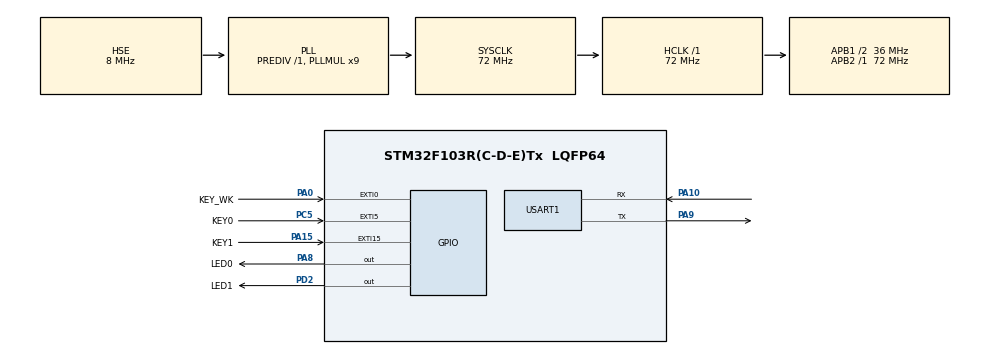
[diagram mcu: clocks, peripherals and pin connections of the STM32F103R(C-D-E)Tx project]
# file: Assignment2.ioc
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IWDG.Prescaler=IWDG_PRESCALER_256
IWDG.Reload=3437
Mcu.Family=STM32F1
Mcu.Name=STM32F103R(C-D-E)Tx
Mcu.Package=LQFP64
NVIC.EXTI0_IRQn=true\:2\:0\:true\:false\:true\:true\:true\:true
NVIC.EXTI15_10_IRQn=true\:2\:2\:true\:false\:true\:true\:true\:true
NVIC.EXTI9_5_IRQn=true\:2\:1\:true\:false\:true\:true\:true\:true
NVIC.PriorityGroup=NVIC_PRIORITYGROUP_2
NVIC.TIM3_IRQn=true\:0\:0\:true\:false\:true\:true\:true\:true
NVIC.USART1_IRQn=true\:1\:0\:true\:false\:true\:true\:true\:true
PA0-WKUP.GPIO_Label=KEY_WK
PA0-WKUP.GPIO_PuPd=GPIO_PULLDOWN
PA0-WKUP.Signal=GPXTI0
PA10.Mode=Asynchronous
PA10.Signal=USART1_RX
PA13.Mode=Serial_Wire
PA13.Signal=SYS_JTMS-SWDIO
PA14.Mode=Serial_Wire
PA14.Signal=SYS_JTCK-SWCLK
PA15.GPIO_Label=KEY1
PA15.GPIO_ModeDefaultEXTI=GPIO_MODE_IT_FALLING
PA15.GPIO_PuPd=GPIO_PULLUP
PA15.Signal=GPXTI15
PA8.GPIO_Label=LED0
PA8.PinState=GPIO_PIN_SET
PA8.Signal=GPIO_Output
PA9.Mode=Asynchronous
PA9.Signal=USART1_TX
PC5.GPIO_Label=KEY0
PC5.GPIO_ModeDefaultEXTI=GPIO_MODE_IT_FALLING
PC5.GPIO_PuPd=GPIO_PULLUP
PC5.Signal=GPXTI5
PD0-OSC_IN.Mode=HSE-External-Oscillator
PD0-OSC_IN.Signal=RCC_OSC_IN
PD1-OSC_OUT.Mode=HSE-External-Oscillator
PD1-OSC_OUT.Signal=RCC_OSC_OUT
PD2.GPIO_Label=LED1
PD2.PinState=GPIO_PIN_SET
PD2.Signal=GPIO_Output
ProjectManager.HeapSize=0x200
ProjectManager.StackSize=0x400
ProjectManager.TargetToolchain=STM32CubeIDE
RCC.AHBFreq_Value=72000000
RCC.APB1CLKDivider=RCC_HCLK_DIV2
RCC.APB1Freq_Value=36000000
RCC.APB1TimFreq_Value=72000000
RCC.APB2Freq_Value=72000000
RCC.APB2TimFreq_Value=72000000
RCC.HCLKFreq_Value=72000000
RCC.PLLMUL=RCC_PLL_MUL9
RCC.PLLSourceVirtual=RCC_PLLSOURCE_HSE
RCC.SYSCLKFreq_VALUE=72000000
RCC.SYSCLKSource=RCC_SYSCLKSOURCE_PLLCLK
RCC.USBFreq_Value=72000000
TIM3.Period=9999
TIM3.Prescaler=719
USART1.VirtualMode=VM_ASYNC
VP_IWDG_VS_IWDG.Mode=IWDG_Activate
VP_TIM3_VS_ClockSourceINT.Mode=Internal
board=custom

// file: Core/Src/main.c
/* USER CODE BEGIN Header */
/**
  ******************************************************************************
  * @file           : main.c
  * @brief          : Main program body
  ******************************************************************************
  * @attention
  *
  * Copyright (c) 2022 STMicroelectronics.
  * All rights reserved.
  *
  * This software is licensed under terms that can be found in the LICENSE file
  * in the root directory of this software component.
  * If no LICENSE file comes with this software, it is provided AS-IS.
  *
  ******************************************************************************
  */
/* USER CODE END Header */
#include "main.h"

/* USER CODE BEGIN Includes */
# include <stdio.h>
# include <stdlib.h>
# include <time.h>
#include <string.h>
/* USER CODE END Includes */

IWDG_HandleTypeDef hiwdg;

TIM_HandleTypeDef htim3;

UART_HandleTypeDef huart1;

/* USER CODE BEGIN PV */
IWDG_HandleTypeDef hiwdg2;
extern unsigned char uRx_Data[1024];
extern unsigned char uLength;
extern uint8_t rxBuffer[20];
extern unsigned char flag;
extern unsigned char Length;
extern int wrongORright;
/* USER CODE END PV */

void SystemClock_Config(void);
static void MX_GPIO_Init(void);
static void MX_IWDG_Init(void);
static void MX_USART1_UART_Init(void);
static void MX_TIM3_Init(void);

/* USER CODE BEGIN 0 */
int initial=0;
volatile int i = 10000;
unsigned char msg[1024];
int f=0;
char string[1024];
int x,seed=520;
volatile int mode=0;  //mode=0
volatile int lim=10;
volatile int updatevalue=0;
/* USER CODE END 0 */

int main(void)
{

  /* MCU Configuration--------------------------------------------------------*/

  /* Reset of all peripherals, Initializes the Flash interface and the Systick. */
  HAL_Init();

  /* Configure the system clock */
  SystemClock_Config();

  /* Initialize all configured peripherals */
  MX_GPIO_Init();
  MX_TIM3_Init();

  /* Infinite loop */
  /* USER CODE BEGIN WHILE */

  int s=0,j;

  while (1)
   {

	  if (mode==0){
		   seed+=1314;
     // *string="abcd";
    /* USER CODE END WHILE */

    /* USER CODE BEGIN 3 */
	  if (i==lim){
		 if (s==0) sprintf(msg, "You have %d Seconds in total, Let us Start Typing Exercise \r\n [WORD] %s \r\n", i,string);
		 else sprintf(msg, "You have %d Seconds in total, Let us Continue Typing Exercise \r\n [WORD] %s \r\n", i,string);
	  }
   else if (i>=2&&i<=3) sprintf(msg, " [WARNING] %d seconds left! \r\n", i);
     else if (i==1)  sprintf(msg, " [WARNING] %d second left! \r\n", i);
     else if (i==0) {
    	 if (s>=lim) sprintf(msg, "Game over! The Score you get is %d, Excellent!\r\n", s);
    	 else if (s>=lim/2) sprintf(msg, "Game over! The Score you get is %d, Good!\r\n", s);
    	   else if (s>=1) sprintf(msg, "Game over! The Score you get is %d, Practice more!\r\n", s);
    	      else if (s==0)  sprintf(msg, "Game over! The Score you get is %d, Rubbish!\r\n", s);
     }

  if (i==lim||i>=0&&i<=3) HAL_UART_Transmit(&huart1, (uint8_t*)msg, strlen(msg), HAL_MAX_DELAY);

   if (i>1||i==0){
	   if (wrongORright==0) HAL_Delay(1000);
   else if (wrongORright==1) {
	   wrongORright=0;
		HAL_GPIO_WritePin(GPIOA, GPIO_PIN_8,GPIO_PIN_SET);
		  HAL_GPIO_TogglePin(GPIOA, GPIO_PIN_8);
		  HAL_Delay(500);
		  HAL_GPIO_TogglePin(GPIOA, GPIO_PIN_8);
		  HAL_Delay(500);

   }
   else if(wrongORright==2){
	   wrongORright=0;
	   HAL_GPIO_WritePin(GPIOD, GPIO_PIN_2,GPIO_PIN_SET);
	   HAL_GPIO_TogglePin(GPIOD, GPIO_PIN_2);
	   HAL_Delay(500);
	   HAL_GPIO_TogglePin(GPIOD, GPIO_PIN_2);
	   HAL_Delay(500);

	   s++;
	   srand(seed);
		  for (j=0;j<=(s+9)/3;j++){
			 // srand((unsigned)time(NULL));
			      x=rand()%(25-0+1);
				  string[j]='a'+x;
			  }
			  string[(s+9)/3+1]='\0';
	   HAL_IWDG_Refresh(&hiwdg);
	   i=lim+1;

   }
	   i--;
	    initial=i;
   }
   else if (i==1){
	   HAL_Delay(1000);
	   i--;
	   initial=i;
	   if (wrongORright==1) {
		    wrongORright=0;
	   		HAL_GPIO_WritePin(GPIOA, GPIO_PIN_8,GPIO_PIN_SET);

	   		  HAL_GPIO_TogglePin(GPIOA, GPIO_PIN_8);
	   		  HAL_Delay(500);
	   		  HAL_GPIO_TogglePin(GPIOA, GPIO_PIN_8);

	      }
	      else if(wrongORright==2){
	       wrongORright=0;
	   	   HAL_GPIO_WritePin(GPIOD, GPIO_PIN_2,GPIO_PIN_SET);
	   	   HAL_GPIO_TogglePin(GPIOD, GPIO_PIN_2);
	   	   HAL_Delay(500);
	   	   HAL_GPIO_TogglePin(GPIOD, GPIO_PIN_2);

	   	   s++;
	   	srand(seed);
	 	  for (j=0;j<=(s+9)/3;j++){
	 		// srand((unsigned)time(NULL));
	 		      x=rand()%(25-0+1);
	 			  string[j]='a'+x;
	 		  }
	 		  string[(s+9)/3+1]='\0';
	   	   HAL_IWDG_Refresh(&hiwdg);
	   	   i=lim+1;
	       i--;
	   	   initial=i;
	      }
   }

	  }
	  else{

	  }

 }
  /* USER CODE END 3 */
}

void SystemClock_Config(void)
{
  RCC_OscInitTypeDef RCC_OscInitStruct = {0};
  RCC_ClkInitTypeDef RCC_ClkInitStruct = {0};

  /** Initializes the RCC Oscillators according to the specified parameters
  * in the RCC_OscInitTypeDef structure.
  */
  RCC_OscInitStruct.OscillatorType = RCC_OSCILLATORTYPE_LSI|RCC_OSCILLATORTYPE_HSE;
  RCC_OscInitStruct.HSEState = RCC_HSE_ON;
  RCC_OscInitStruct.HSEPredivValue = RCC_HSE_PREDIV_DIV1;
  RCC_OscInitStruct.HSIState = RCC_HSI_ON;
  RCC_OscInitStruct.LSIState = RCC_LSI_ON;
  RCC_OscInitStruct.PLL.PLLState = RCC_PLL_ON;
  RCC_OscInitStruct.PLL.PLLSource = RCC_PLLSOURCE_HSE;
  RCC_OscInitStruct.PLL.PLLMUL = RCC_PLL_MUL9;
  if (HAL_RCC_OscConfig(&RCC_OscInitStruct) != HAL_OK)
  {
    Error_Handler();
  }

  /** Initializes the CPU, AHB and APB buses clocks
  */
  RCC_ClkInitStruct.ClockType = RCC_CLOCKTYPE_HCLK|RCC_CLOCKTYPE_SYSCLK
                              |RCC_CLOCKTYPE_PCLK1|RCC_CLOCKTYPE_PCLK2;
  RCC_ClkInitStruct.SYSCLKSource = RCC_SYSCLKSOURCE_PLLCLK;
  RCC_ClkInitStruct.AHBCLKDivider = RCC_SYSCLK_DIV1;
  RCC_ClkInitStruct.APB1CLKDivider = RCC_HCLK_DIV2;
  RCC_ClkInitStruct.APB2CLKDivider = RCC_HCLK_DIV1;

  if (HAL_RCC_ClockConfig(&RCC_ClkInitStruct, FLASH_LATENCY_2) != HAL_OK)
  {
    Error_Handler();
  }
}

static void MX_IWDG_Init(void)
{

  hiwdg.Instance = IWDG;
  hiwdg.Init.Prescaler = IWDG_PRESCALER_256;
  hiwdg.Init.Reload = 3437;
  if (HAL_IWDG_Init(&hiwdg) != HAL_OK)
  {
    Error_Handler();
  }

}

static void MX_TIM3_Init(void)
{

  TIM_ClockConfigTypeDef sClockSourceConfig = {0};
  TIM_MasterConfigTypeDef sMasterConfig = {0};

  htim3.Instance = TIM3;
  htim3.Init.Prescaler = 719;
  htim3.Init.CounterMode = TIM_COUNTERMODE_UP;
  htim3.Init.Period = 9999;
  htim3.Init.ClockDivision = TIM_CLOCKDIVISION_DIV1;
  htim3.Init.AutoReloadPreload = TIM_AUTORELOAD_PRELOAD_DISABLE;
  if (HAL_TIM_Base_Init(&htim3) != HAL_OK)
  {
    Error_Handler();
  }
  sClockSourceConfig.ClockSource = TIM_CLOCKSOURCE_INTERNAL;
  if (HAL_TIM_ConfigClockSource(&htim3, &sClockSourceConfig) != HAL_OK)
  {
    Error_Handler();
  }
  sMasterConfig.MasterOutputTrigger = TIM_TRGO_RESET;
  sMasterConfig.MasterSlaveMode = TIM_MASTERSLAVEMODE_DISABLE;
  if (HAL_TIMEx_MasterConfigSynchronization(&htim3, &sMasterConfig) != HAL_OK)
  {
    Error_Handler();
  }

}

static void MX_USART1_UART_Init(void)
{

  huart1.Instance = USART1;
  huart1.Init.BaudRate = 115200;
  huart1.Init.WordLength = UART_WORDLENGTH_8B;
  huart1.Init.StopBits = UART_STOPBITS_1;
  huart1.Init.Parity = UART_PARITY_NONE;
  huart1.Init.Mode = UART_MODE_TX_RX;
  huart1.Init.HwFlowCtl = UART_HWCONTROL_NONE;
  huart1.Init.OverSampling = UART_OVERSAMPLING_16;
  if (HAL_UART_Init(&huart1) != HAL_OK)
  {
    Error_Handler();
  }

}

static void MX_GPIO_Init(void)
{
  GPIO_InitTypeDef GPIO_InitStruct = {0};

  /* GPIO Ports Clock Enable */
  __HAL_RCC_GPIOD_CLK_ENABLE();
  __HAL_RCC_GPIOA_CLK_ENABLE();
  __HAL_RCC_GPIOC_CLK_ENABLE();

  /*Configure GPIO pin Output Level */
  HAL_GPIO_WritePin(LED0_GPIO_Port, LED0_Pin, GPIO_PIN_SET);

  /*Configure GPIO pin Output Level */
  HAL_GPIO_WritePin(LED1_GPIO_Port, LED1_Pin, GPIO_PIN_SET);

  /*Configure GPIO pin : KEY_WK_Pin */
  GPIO_InitStruct.Pin = KEY_WK_Pin;
  GPIO_InitStruct.Mode = GPIO_MODE_IT_RISING;
  GPIO_InitStruct.Pull = GPIO_PULLDOWN;
  HAL_GPIO_Init(KEY_WK_GPIO_Port, &GPIO_InitStruct);

  /*Configure GPIO pin : KEY0_Pin */
  GPIO_InitStruct.Pin = KEY0_Pin;
  GPIO_InitStruct.Mode = GPIO_MODE_IT_FALLING;
  GPIO_InitStruct.Pull = GPIO_PULLUP;
  HAL_GPIO_Init(KEY0_GPIO_Port, &GPIO_InitStruct);

  /*Configure GPIO pin : LED0_Pin */
  GPIO_InitStruct.Pin = LED0_Pin;
  GPIO_InitStruct.Mode = GPIO_MODE_OUTPUT_PP;
  GPIO_InitStruct.Pull = GPIO_NOPULL;
  GPIO_InitStruct.Speed = GPIO_SPEED_FREQ_LOW;
  HAL_GPIO_Init(LED0_GPIO_Port, &GPIO_InitStruct);

  /*Configure GPIO pin : KEY1_Pin */
  GPIO_InitStruct.Pin = KEY1_Pin;
  GPIO_InitStruct.Mode = GPIO_MODE_IT_FALLING;
  GPIO_InitStruct.Pull = GPIO_PULLUP;
  HAL_GPIO_Init(KEY1_GPIO_Port, &GPIO_InitStruct);

  /*Configure GPIO pin : LED1_Pin */
  GPIO_InitStruct.Pin = LED1_Pin;
  GPIO_InitStruct.Mode = GPIO_MODE_OUTPUT_PP;
  GPIO_InitStruct.Pull = GPIO_NOPULL;
  GPIO_InitStruct.Speed = GPIO_SPEED_FREQ_LOW;
  HAL_GPIO_Init(LED1_GPIO_Port, &GPIO_InitStruct);

  /* EXTI interrupt init*/
  HAL_NVIC_SetPriority(EXTI0_IRQn, 2, 0);
  HAL_NVIC_EnableIRQ(EXTI0_IRQn);

  HAL_NVIC_SetPriority(EXTI9_5_IRQn, 2, 1);
  HAL_NVIC_EnableIRQ(EXTI9_5_IRQn);

  HAL_NVIC_SetPriority(EXTI15_10_IRQn, 2, 2);
  HAL_NVIC_EnableIRQ(EXTI15_10_IRQn);

}

/* USER CODE BEGIN 4 */
void HAL_GPIO_EXTI_Callback(uint16_t GPIO_Pin)
{
switch (GPIO_Pin) {
case KEY0_Pin:
if (HAL_GPIO_ReadPin(KEY0_GPIO_Port, KEY0_Pin) == GPIO_PIN_RESET){
	//HAL_IWDG_Refresh(&hiwdg);
	initial=i;
	  	MX_USART1_UART_Init();
	  	sprintf(msg, "\r\nGame Start! Are you Ready? [Y/N] \r\n(You should give me your choice with 'Y' or 'N' in 10 seconds)\r\n");
	  	HAL_UART_Transmit(&huart1, (uint8_t*)msg, strlen(msg), HAL_MAX_DELAY);
	  	HAL_UART_Receive_IT(&huart1,(uint8_t *)rxBuffer,1);
	  	int j=10;
	  	f=0;
	  	while (j!=-1){
	  		 if (j!=0){
	  			 sprintf(msg, "%d--",j);
	  		 }
	  		 else {
	  			sprintf(msg, "%d \r\nTime Over, Quit Game!\r\n",j);
	  		 }
	  		 j--;
	  		 HAL_UART_Transmit(&huart1, (uint8_t*)msg, strlen(msg), HAL_MAX_DELAY);
	  		 HAL_Delay(1000);
	  		 if (Length ==1&&uRx_Data[0]=='Y') {
	  			 f=1;
	  			 sprintf(msg, "\r\nReady...Go!\r\n\r\n");
	  			 HAL_UART_Transmit(&huart1, (uint8_t*)msg, strlen(msg), HAL_MAX_DELAY);
	  			 break;
	  		 }
	  		 else if (Length ==1&&uRx_Data[0]=='N'){
	  			 sprintf(msg, "\r\nYou can play next time, Quit Game!\r\n");
	  			 HAL_UART_Transmit(&huart1, (uint8_t*)msg, strlen(msg), HAL_MAX_DELAY);
	  			 break;
	  		 }

	  	}
	  	if (f==1){
	  		HAL_Delay(1000);
	  		 srand(seed);
	  		for (int j=0;j<=(0+9)/3;j++){
	  		  				  //x=(a*x+c)%m;
	  			  //srand((unsigned)time(NULL));
	  			           x=rand()%(25-0+1);
	  		  				  string[j]='a'+x;
	  		  			  }
	  		  			  string[(0+9)/3+1]='\0';
	  	 //x=rand()%(25-0+1);
	  	 MX_IWDG_Init();
	  	 i=lim+1;
	  	}
	  	else {

	  		while(1){

	  		}
	  	}

}

break;

case KEY_WK_Pin:
	if (HAL_GPIO_ReadPin(KEY_WK_GPIO_Port, KEY_WK_Pin) == GPIO_PIN_SET){
         if (i>=0){
        	 if (mode==0){
			mode=1;
			int ll=0,j;
			char str[]=" [Pause] Please press KEY_WK to continue!\r\n";
			for( j=0;str[j];j++ ){
								ll++;
								uRx_Data[j]=str[j];
							}
							HAL_UART_Transmit(&huart1, uRx_Data, ll, 0xffff);
			HAL_TIM_Base_Start_IT(&htim3);
							HAL_Delay(1000);
		}else{

			mode=0;
			int ll=0,j;
			char str[]=" [continue] Welcome to come back again!\r\n";
			for( j=0;str[j];j++ ){
								ll++;
								uRx_Data[j]=str[j];
							}

							HAL_UART_Transmit(&huart1, uRx_Data, ll, 0xffff);
			HAL_TIM_Base_Stop_IT(&htim3);
							HAL_Delay(1000);
		}
         }

	}
	break;
case KEY1_Pin:
	if (HAL_GPIO_ReadPin(KEY1_GPIO_Port, KEY1_Pin) == GPIO_PIN_RESET){
		 if (i>=0){
			mode=1;
			int ll=0,j;
			char str[]=" [UPDATE] The current time limit is ";
			int k=lim,len=0;
			char add[]="new";
			char fin[]="friend";
			while(k!=0){
				add[len]=k%10+48;
				len++;
				k=k/10;
				//Time limit changed: ? seconds.\r\n";
			}
			for (j=0;j<len;j++){
				fin[j]=add[len-1-j];
			}
			for( j=0;str[j];j++ ){
								ll++;
								uRx_Data[j]=str[j];
							}
			for (j=0;j<len;j++){

			uRx_Data[ll]=fin[j];
			ll++;
			}
			if (lim>1){
				char str1[]=" seconds.\r\n";
			for( j=0;str1[j];j++ ){

											uRx_Data[ll]=str1[j];
											ll++;
										}
			}
			else {
				char str1[]=" second.\r\n";
						for( j=0;str1[j];j++ ){

														uRx_Data[ll]=str1[j];
														ll++;
													}
			}

							HAL_UART_Transmit(&huart1, uRx_Data, ll, 0xffff);
							ll=0;
							char str2[]=" [UPDATE] Time limit changed: ? seconds(? can be [1, 20]). Please input ?.\r\n";
							for( j=0;str2[j];j++ ){
												ll++;
												uRx_Data[j]=str2[j];
											}

											HAL_UART_Transmit(&huart1, uRx_Data, ll, 0xffff);
							updatevalue=1;
			HAL_TIM_Base_Start_IT(&htim3);
							HAL_Delay(1000);

		 }
	}
	break;
default:
break;
}
}

void HAL_TIM_PeriodElapsedCallback(TIM_HandleTypeDef *htim){
	HAL_IWDG_Refresh(&hiwdg);

}
/* USER CODE END 4 */

void Error_Handler(void)
{
  __disable_irq();
  while (1)
  {
  }
}
